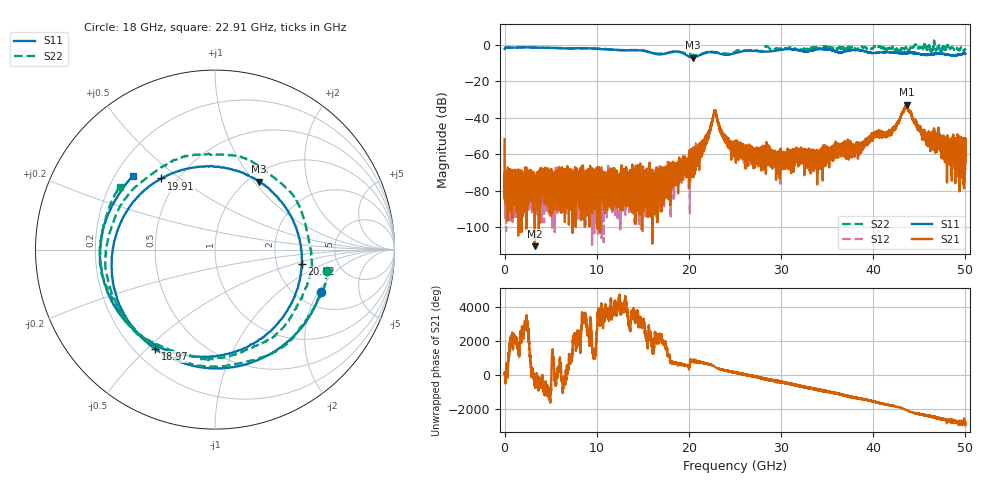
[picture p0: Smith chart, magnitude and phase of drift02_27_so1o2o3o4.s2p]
!Created with skrf (http://scikit-rf.org).
# Hz S RI R 50.0
!freq ReS11 ImS11 ReS21 ImS21 ReS12 ImS12 ReS22 ImS22
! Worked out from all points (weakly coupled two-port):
!   10001 points, 300 kHz to 50 GHz, reference 50 ohm
!   highest |S21| = -32.81 dB at 43.62 GHz (marker M1); lowest = -110.4 dB at 3.275 GHz (marker M2)
!   lowest |S11| = -6.9 dB at 20.41 GHz (marker M3), VSWR 2.64, Z = 55.8 + j52.9 ohm
!   |S11| at or under -10 dB: nowhere
!   |S22| runs from -5.7 to 2.5 dB; largest |S21 - S12| = 0.0035
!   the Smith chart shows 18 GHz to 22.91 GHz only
!   S11 on the Smith chart (normalised r, x): 18 GHz: 2.66, -2.09; 18.97 GHz: 0.28, -0.53; 19.91 GHz: 0.41, +0.43; 20.92 GHz: 2.78, -0.60; 22.91 GHz: 0.27, +0.36
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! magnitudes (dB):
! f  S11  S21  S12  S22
! 300 kHz  -2.1  -51.7  -54.9  -2.1
! 255.3 MHz  -1.4  -77.6  -79.4  -1.4
! 3.275 GHz  -1.5  -110.4  -77.6  -1.4
! 8.335 GHz  -1.7  -68.9  -73.9  -1.9
! 16.67 GHz  -5.2  -71.1  -76.3  -4.7
! 18 GHz  -4.0  -71.4  -70.2  -4.0
! 18.97 GHz  -3.8  -67.9  -67.9  -3.9
! 19.91 GHz  -6.1  -66.2  -65.5  -5.2
! 20.41 GHz  -6.9  -58.8  -55.5  -5.4
! 20.92 GHz  -6.2  -56.3  -57.4  -5.6
! 21.74 GHz  -4.4  -51.3  -54.8  -4.5
! 22.91 GHz  -4.2  -37.2  -36.9  -4.0
! 23.75 GHz  -5.3  -51.4  -48.9  -4.6
! 25 GHz  -4.5  -54.4  -55.7  -3.9
! 29.8 GHz  -2.8  -67.5  -70.5  -2.0
! 33.34 GHz  -3.0  -61.3  -58.3  -1.6
! 38.1 GHz  -2.8  -56.0  -57.5  -2.3
! 41.67 GHz  -4.0  -47.0  -47.8  -1.8
! 43.62 GHz  -4.4  -32.8  -33.3  -1.6
! 45.69 GHz  -5.4  -51.0  -50.4  -0.6
! 49.63 GHz  -5.0  -59.4  -53.8  -1.7
! 50 GHz  -4.7  -53.6  -59.6  -2.8
